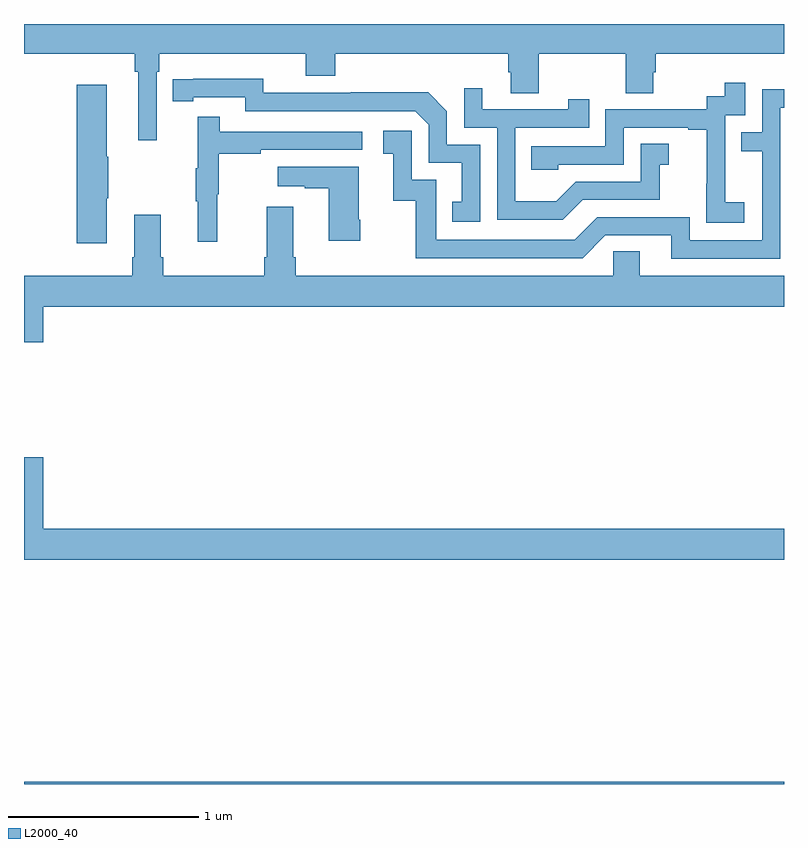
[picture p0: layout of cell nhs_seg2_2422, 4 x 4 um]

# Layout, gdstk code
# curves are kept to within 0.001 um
import gdstk
lib = gdstk.Library(unit=1e-6, precision=1e-09)
def R(c, l, rs):  # rectangles x0, y0, x1, y1
    for r in rs: c.add(gdstk.rectangle(r[:2], r[2:], *l))
def P(c, l, *ps):  # polygons
    for p in ps: c.add(gdstk.Polygon(p, *l))
L2000_40 = (2000, 40)

nhs_seg2_2422 = lib.new_cell('nhs_seg2_2422')
R(nhs_seg2_2422, L2000_40, [(237,635.8,241,635.812)])
P(nhs_seg2_2422, L2000_40, [(237.699,639.548),(237.713,639.548),(237.713,639.644),(238.484,639.644),(238.484,639.527),(238.637,639.527),(238.637,639.644),(239.549,639.644),(239.549,639.546),(239.561,639.546),(239.561,639.436),(239.709,639.436),(239.709,639.644),(240.166,639.644),(240.166,639.436),(240.313,639.436),(240.313,639.546),(240.326,639.546),(240.326,639.644),(241,639.644),(241,639.8),(237,639.8),(237,639.644),(237.583,639.644),(237.583,639.548),(237.602,639.548),(237.602,639.189),(237.699,639.189)],
  [(239.4,639.165),(239.226,639.165),(239.226,639.342),(239.128,639.44),(238.72,639.44),(238.72,639.438),(238.26,639.438),(238.26,639.511),(237.784,639.51),(237.784,639.394),(237.892,639.394),(237.892,639.414),(238.164,639.414),(238.164,639.342),(239.058,639.342),(239.13,639.27),(239.13,639.069),(239.303,639.069),(239.303,638.865),(239.254,638.865),(239.254,638.76),(239.4,638.76)],
  [(240.79,638.863),(240.692,638.863),(240.692,639.092),(240.69,639.092),(240.69,639.321),(240.795,639.321),(240.795,639.49),(240.687,639.49),(240.687,639.42),(240.594,639.42),(240.594,639.351),(240.06,639.351),(240.06,639.156),(239.671,639.156),(239.671,639.033),(239.811,639.033),(239.811,639.06),(240.156,639.06),(240.156,639.255),(240.497,639.255),(240.497,639.243),(240.593,639.243),(240.593,638.959),(240.592,638.959),(240.592,638.753),(240.79,638.753)],
  [(237.436,638.884),(237.444,638.884),(237.444,639.101),(237.436,639.101),(237.436,639.481),(237.278,639.481),(237.278,638.646),(237.436,638.646)],
  [(239.941,638.874),(240.345,638.874),(240.345,639.059),(240.394,639.059),(240.394,639.169),(240.246,639.169),(240.246,638.97),(239.904,638.97),(239.8,638.866),(239.586,638.866),(239.586,639.255),(239.975,639.255),(239.975,639.403),(239.864,639.403),(239.864,639.351),(239.413,639.351),(239.413,639.463),(239.316,639.463),(239.316,639.255),(239.49,639.255),(239.49,638.769),(239.836,638.769)],
  [(240.981,639.36),(241,639.36),(241,639.456),(240.885,639.456),(240.885,639.231),(240.775,639.231),(240.775,639.13),(240.885,639.13),(240.885,638.661),(240.504,638.661),(240.504,638.784),(240.018,638.784),(239.898,638.664),(239.169,638.664),(239.169,638.979),(239.04,638.979),(239.04,639.238),(238.89,639.238),(238.89,639.117),(238.943,639.117),(238.943,638.871),(239.061,638.871),(239.061,638.568),(239.94,638.568),(240.06,638.688),(240.407,638.688),(240.407,638.565),(240.981,638.565)],
  [(238.016,638.904),(238.024,638.904),(238.024,639.118),(238.247,639.118),(238.247,639.138),(238.78,639.138),(238.78,639.234),(238.031,639.234),(238.031,639.313),(237.914,639.313),(237.914,639.041),(237.903,639.041),(237.903,638.867),(237.914,638.867),(237.914,638.655),(238.016,638.655)],
  [(238.77,638.77),(238.762,638.77),(238.762,639.049),(238.335,639.049),(238.335,638.945),(238.478,638.945),(238.478,638.935),(238.604,638.935),(238.604,638.658),(238.77,638.658)],
  [(237.1,638.312),(241,638.312),(241,638.476),(240.241,638.476),(240.241,638.603),(240.102,638.603),(240.102,638.476),(238.43,638.476),(238.43,638.572),(238.417,638.572),(238.417,638.839),(238.277,638.839),(238.277,638.572),(238.265,638.572),(238.265,638.476),(237.734,638.476),(237.734,638.572),(237.721,638.572),(237.721,638.797),(237.581,638.797),(237.581,638.572),(237.569,638.572),(237.569,638.476),(237,638.476),(237,638.124),(237.1,638.124)],
  [(241,637.144),(237.1,637.144),(237.1,637.519),(237,637.519),(237,636.98),(241,636.98)])

lib.write_gds('nhs_seg2_2422.gds')
